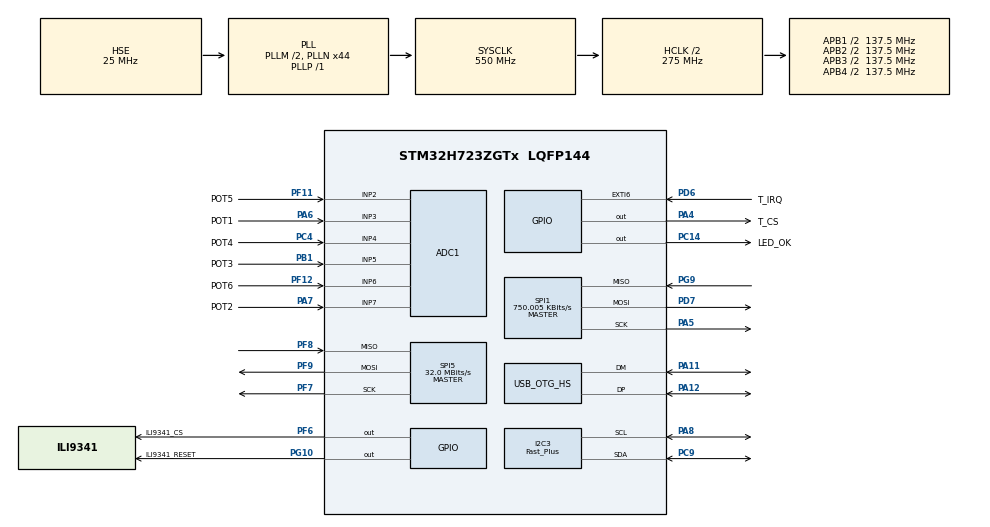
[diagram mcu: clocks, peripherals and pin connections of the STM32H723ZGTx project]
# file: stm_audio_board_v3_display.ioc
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ADC1.Channel-0\#ChannelRegularConversion=ADC_CHANNEL_3
ADC1.NbrOfConversionFlag=1
ADC1.OffsetNumber-0\#ChannelRegularConversion=ADC_OFFSET_NONE
ADC1.OffsetSignedSaturation-0\#ChannelRegularConversion=DISABLE
ADC1.Rank-0\#ChannelRegularConversion=1
ADC1.SamplingTime-0\#ChannelRegularConversion=ADC_SAMPLETIME_1CYCLE_5
ADC1.master=1
ADC3.Channel-2\#ChannelRegularConversion=ADC_CHANNEL_TEMPSENSOR
ADC3.NbrOfConversionFlag=1
ADC3.OffsetNumber-2\#ChannelRegularConversion=ADC_OFFSET_NONE
ADC3.OffsetSign-2\#ChannelRegularConversion=ADC3_OFFSET_SIGN_NEGATIVE
ADC3.Rank-2\#ChannelRegularConversion=1
ADC3.SamplingTime-2\#ChannelRegularConversion=ADC3_SAMPLETIME_640CYCLES_5
CORTEX_M7.CPU_DCache=Disabled
CORTEX_M7.CPU_ICache=Enabled
CORTEX_M7.Enable-Cortex_Memory_Protection_Unit_Region0_Settings=MPU_REGION_ENABLE
CORTEX_M7.MPU_Control=__NULL
CORTEX_M7.default_mode_Activation=0
Dma.Request0=SPI5_TX
Dma.SPI5_TX.0.Direction=DMA_MEMORY_TO_PERIPH
Dma.SPI5_TX.0.EventEnable=DISABLE
Dma.SPI5_TX.0.FIFOMode=DMA_FIFOMODE_DISABLE
Dma.SPI5_TX.0.Instance=DMA1_Stream0
Dma.SPI5_TX.0.MemDataAlignment=DMA_MDATAALIGN_BYTE
Dma.SPI5_TX.0.MemInc=DMA_MINC_ENABLE
Dma.SPI5_TX.0.Mode=DMA_NORMAL
Dma.SPI5_TX.0.PeriphDataAlignment=DMA_PDATAALIGN_BYTE
Dma.SPI5_TX.0.PeriphInc=DMA_PINC_DISABLE
Dma.SPI5_TX.0.Polarity=HAL_DMAMUX_REQ_GEN_RISING
Dma.SPI5_TX.0.Priority=DMA_PRIORITY_LOW
Dma.SPI5_TX.0.RequestNumber=1
Dma.SPI5_TX.0.SignalID=NONE
Dma.SPI5_TX.0.SyncEnable=DISABLE
Dma.SPI5_TX.0.SyncPolarity=HAL_DMAMUX_SYNC_NO_EVENT
Dma.SPI5_TX.0.SyncRequestNumber=1
Dma.SPI5_TX.0.SyncSignalID=NONE
I2C3.I2C_Speed_Mode=I2C_Fast_Plus
I2C3.OwnAddress=15
I2C3.Timing=0x00601A5C
IWDG1.Prescaler=IWDG_PRESCALER_64
Mcu.Family=STM32H7
Mcu.Name=STM32H723ZGTx
Mcu.Package=LQFP144
NVIC.DMA1_Stream0_IRQn=true\:0\:0\:false\:false\:true\:false\:true\:true
NVIC.I2C3_ER_IRQn=true\:0\:0\:false\:false\:true\:true\:true\:true
NVIC.I2C3_EV_IRQn=true\:0\:0\:false\:false\:true\:true\:true\:true
NVIC.OTG_HS_IRQn=true\:0\:0\:false\:false\:true\:false\:true\:true
NVIC.PriorityGroup=NVIC_PRIORITYGROUP_4
NVIC.SPI1_IRQn=true\:0\:0\:false\:false\:true\:true\:true\:true
NVIC.SPI5_IRQn=true\:0\:0\:false\:false\:true\:true\:true\:true
NVIC.TIM2_IRQn=true\:0\:0\:false\:false\:true\:true\:true\:true
PA11.Mode=Device_Only_FS
PA11.Signal=USB_OTG_HS_DM
PA12.Mode=Device_Only_FS
PA12.Signal=USB_OTG_HS_DP
PA13(JTMS/SWDIO).Mode=Serial_Wire
PA13(JTMS/SWDIO).Signal=DEBUG_JTMS-SWDIO
PA14(JTCK/SWCLK).Mode=Serial_Wire
PA14(JTCK/SWCLK).Signal=DEBUG_JTCK-SWCLK
PA4.GPIO_Label=T_CS
PA4.GPIO_Speed=GPIO_SPEED_FREQ_VERY_HIGH
PA4.PinState=GPIO_PIN_SET
PA4.Signal=GPIO_Output
PA5.Mode=Full_Duplex_Master
PA5.Signal=SPI1_SCK
PA6.GPIO_Label=POT1
PA6.Signal=ADCx_INP3
PA7.GPIO_Label=POT2
PA7.Signal=ADCx_INP7
PA8.GPIO_Pu=GPIO_PULLUP
PA8.GPIO_Speed=GPIO_SPEED_FREQ_VERY_HIGH
PA8.Mode=I2C
PA8.Signal=I2C3_SCL
PB1.GPIO_Label=POT3
PB1.Signal=ADCx_INP5
PC14-OSC32_IN.GPIO_Label=LED_OK
PC14-OSC32_IN.PinState=GPIO_PIN_SET
PC14-OSC32_IN.Signal=GPIO_Output
PC4.GPIO_Label=POT4
PC4.Signal=ADCx_INP4
PC9.GPIO_Pu=GPIO_PULLUP
PC9.GPIO_Speed=GPIO_SPEED_FREQ_VERY_HIGH
PC9.Mode=I2C
PC9.Signal=I2C3_SDA
PD6.GPIO_Label=T_IRQ
PD6.GPIO_ModeDefaultEXTI=GPIO_MODE_IT_FALLING
PD6.GPIO_PuPd=GPIO_PULLUP
PD6.Signal=GPXTI6
PD7.Mode=Full_Duplex_Master
PD7.Signal=SPI1_MOSI
PE11.Signal=OCTOSPIM_P1_NCS
PF11.GPIO_Label=POT5
PF11.Mode=IN2-Single-Ended
PF11.Signal=ADC1_INP2
PF12.GPIO_Label=POT6
PF12.Mode=IN6-Single-Ended
PF12.Signal=ADC1_INP6
PF6.GPIO_Label=ILI9341_CS
PF6.GPIO_PuPd=GPIO_PULLUP
PF6.GPIO_Speed=GPIO_SPEED_FREQ_VERY_HIGH
PF6.PinState=GPIO_PIN_SET
PF6.Signal=GPIO_Output
PF7.GPIO_PuPd=GPIO_PULLDOWN
PF7.GPIO_Speed=GPIO_SPEED_FREQ_VERY_HIGH
PF7.Mode=Full_Duplex_Master
PF7.Signal=SPI5_SCK
PF8.GPIO_Speed=GPIO_SPEED_FREQ_VERY_HIGH
PF8.Mode=Full_Duplex_Master
PF8.Signal=SPI5_MISO
PF9.GPIO_Speed=GPIO_SPEED_FREQ_VERY_HIGH
PF9.Mode=Full_Duplex_Master
PF9.Signal=SPI5_MOSI
PG10.GPIO_Label=ILI9341_RESET
PG10.GPIO_PuPd=GPIO_PULLUP
PG10.GPIO_Speed=GPIO_SPEED_FREQ_VERY_HIGH
PG10.PinState=GPIO_PIN_SET
PG10.Signal=GPIO_Output
PG9.Mode=Full_Duplex_Master
PG9.Signal=SPI1_MISO
PH0-OSC_IN.Mode=HSE-External-Oscillator
PH0-OSC_IN.Signal=RCC_OSC_IN
PH1-OSC_OUT.Mode=HSE-External-Oscillator
PH1-OSC_OUT.Signal=RCC_OSC_OUT
ProjectManager.HeapSize=0x4000
ProjectManager.StackSize=0x8000
ProjectManager.TargetToolchain=STM32CubeIDE
RCC.ADCFreq_Value=96000671.38671875
RCC.APB1Freq_Value=137500000
RCC.APB2Freq_Value=137500000
RCC.APB3Freq_Value=137500000
RCC.APB4Freq_Value=137500000
RCC.CortexFreq_Value=550000000
RCC.D1PPRE=RCC_APB3_DIV2
RCC.D2PPRE1=RCC_APB1_DIV2
RCC.D2PPRE2=RCC_APB2_DIV2
RCC.D3PPRE=RCC_APB4_DIV2
RCC.DIVM1=2
RCC.DIVM2=2
RCC.DIVM3=2
RCC.DIVN1=44
RCC.DIVN2=15
RCC.DIVN3=15
RCC.DIVP1=1
RCC.DIVP3=1
RCC.DIVQ2=3
RCC.HCLKFreq_Value=275000000
RCC.HPRE=RCC_HCLK_DIV2
RCC.PLL2FRACN=2950
RCC.PLL3FRACN=2950
RCC.PLLFRACN=0
RCC.PLLSourceVirtual=RCC_PLLSOURCE_HSE
RCC.PWR_Regulator_Voltage_Scale=PWR_REGULATOR_VOLTAGE_SCALE0
RCC.SPI123CLockSelection=RCC_SPI123CLKSOURCE_PLL3
RCC.SYSCLKFreq_VALUE=550000000
RCC.SYSCLKSource=RCC_SYSCLKSOURCE_PLLCLK
RCC.Spi45ClockSelection=RCC_SPI45CLKSOURCE_HSI
RCC.SupplySource=PWR_LDO_SUPPLY
RCC.USBCLockSelection=RCC_USBCLKSOURCE_HSI48
RCC.USBFreq_Value=48000000
SH.ADCx_INP3.0=ADC1_INP3,IN3-Single-Ended
SH.ADCx_INP4.0=ADC1_INP4,IN4-Single-Ended
SH.ADCx_INP5.0=ADC1_INP5,IN5-Single-Ended
SH.ADCx_INP7.0=ADC1_INP7,IN7-Single-Ended
SPI1.BaudRatePrescaler=SPI_BAUDRATEPRESCALER_256
SPI1.CalculateBaudRate=750.005 KBits/s
SPI1.DataSize=SPI_DATASIZE_8BIT
SPI1.Direction=SPI_DIRECTION_2LINES
SPI1.Mode=SPI_MODE_MASTER
SPI1.VirtualType=VM_MASTER
SPI5.BaudRatePrescaler=SPI_BAUDRATEPRESCALER_2
SPI5.CalculateBaudRate=32.0 MBits/s
SPI5.DataSize=SPI_DATASIZE_8BIT
SPI5.Direction=SPI_DIRECTION_2LINES
SPI5.IOSwap=SPI_IO_SWAP_DISABLE
SPI5.Mode=SPI_MODE_MASTER
SPI5.VirtualType=VM_MASTER
STMicroelectronics.X-CUBE-TOUCHGFX.4.25.0.ApplicationCcGraphicsJjApplication=TouchGFXOoGenerator
STMicroelectronics.X-CUBE-TOUCHGFX.4.25.0.tgfx_buffering_strategy=Partial
STMicroelectronics.X-CUBE-TOUCHGFX.4.25.0.tgfx_custom_height=240
STMicroelectronics.X-CUBE-TOUCHGFX.4.25.0.tgfx_custom_width=320
STMicroelectronics.X-CUBE-TOUCHGFX.4.25.0.tgfx_partialfb_transmit_strategy=Disabled
STMicroelectronics.X-CUBE-TOUCHGFX.4.25.0_IsPackSelfContextualization=true
TIM2.Period=999
TIM2.Prescaler=994
USB_DEVICE.CLASS_NAME_HS=CDC
USB_DEVICE.PID_CDC_HS=12225
USB_DEVICE.PRODUCT_STRING_CDC_HS=SAB_DISPLAY
USB_DEVICE.VirtualMode=Cdc
USB_DEVICE.VirtualModeHS=Cdc_HS
USB_OTG_HS.VirtualMode-Device_Only_FS=Device_Only_FS
VP_ADC3_TempSens_Input.Mode=IN-TempSens
VP_CRC_VS_CRC.Mode=CRC_Activate
VP_IWDG1_VS_IWDG.Mode=IWDG_Activate
VP_MEMORYMAP_VS_MEMORYMAP.Mode=CurAppReg
VP_STMicroelectronics.X-CUBE-TOUCHGFX_VS_GraphicsJjApplication_4.25.0.Mode=GraphicsJjApplication
VP_TIM2_VS_ClockSourceINT.Mode=Internal
VP_USB_DEVICE_VS_USB_DEVICE_CDC_HS.Mode=CDC_HS
board=custom

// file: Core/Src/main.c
/* USER CODE BEGIN Header */
/**
  ******************************************************************************
  * @file           : main.c
  * @brief          : Main program body
  ******************************************************************************
  * @attention
  *
  * Copyright (c) 2024 STMicroelectronics.
  * All rights reserved.
  *
  * This software is licensed under terms that can be found in the LICENSE file
  * in the root directory of this software component.
  * If no LICENSE file comes with this software, it is provided AS-IS.
  *
  ******************************************************************************
  */
/* USER CODE END Header */
#include "main.h"
#include "app_touchgfx.h"
#include "usb_device.h"

/* USER CODE BEGIN Includes */
#include "ili9341.h"
#include "xpt2046.h"
#include "sab_intercom.h"

#include "usbd_cdc_if.h"
/* USER CODE END Includes */

ADC_HandleTypeDef hadc1;
ADC_HandleTypeDef hadc3;

CRC_HandleTypeDef hcrc;

I2C_HandleTypeDef hi2c3;

IWDG_HandleTypeDef hiwdg1;

SPI_HandleTypeDef hspi1;
SPI_HandleTypeDef hspi5;
DMA_HandleTypeDef hdma_spi5_tx;

TIM_HandleTypeDef htim2;

void SystemClock_Config(void);
void PeriphCommonClock_Config(void);
static void MX_GPIO_Init(void);
static void MX_DMA_Init(void);
static void MX_SPI1_Init(void);
static void MX_SPI5_Init(void);
static void MX_CRC_Init(void);
static void MX_ADC1_Init(void);
static void MX_TIM2_Init(void);
static void MX_I2C3_Init(void);
static void MX_ADC3_Init(void);
static void MX_IWDG1_Init(void);

/* USER CODE BEGIN 0 */

#define NUM_OF_POTS 6
volatile uint32_t adc_values_au32[NUM_OF_POTS];
volatile uint32_t temperature_u32;
volatile float	temp_f32;
#define SENSOR_ADC_MAX 		4095.0
#define SENSOR_ADC_REFV  		3.3
#define SENSOR_AVG_SLOPE 		2.5
#define SENSOR_V25  			        0.76

extern void touchgfxSignalVSync(void);
sab_intercom_tst sab_intercom_st;

uint8_t TX_Buffer [] = "ABCDEF" ; // DATA to send
uint8_t SLAVE_ADDR = 0x10<<1;

// TIMER Interrupts
void HAL_TIM_PeriodElapsedCallback(TIM_HandleTypeDef *htim)
{
	if (htim->Instance == TIM2) {
		touchgfxSignalVSync();
		// HAL_I2C_Master_Transmit(&hi2c3,SLAVE_ADDR,TX_Buffer,6,1000); //Sending in Blocking mode

	}
}

/* USER CODE END 0 */

int main(void)
{

  /* Enable the CPU Cache */

  /* Enable I-Cache---------------------------------------------------------*/
  SCB_EnableICache();

  /* MCU Configuration--------------------------------------------------------*/

  /* Reset of all peripherals, Initializes the Flash interface and the Systick. */
  HAL_Init();

  /* Configure the system clock */
  SystemClock_Config();

  /* Configure the peripherals common clocks */
  PeriphCommonClock_Config();

  /* USER CODE BEGIN SysInit */
	init_intercom(&sab_intercom_st, 0x10, &hi2c3);
  /* USER CODE END SysInit */

  /* Initialize all configured peripherals */
  MX_GPIO_Init();
  MX_DMA_Init();
  MX_SPI1_Init();
  MX_SPI5_Init();
  MX_CRC_Init();
  MX_ADC1_Init();
  MX_TIM2_Init();
  MX_I2C3_Init();
  MX_ADC3_Init();
  MX_USB_DEVICE_Init();
  MX_IWDG1_Init();
  MX_TouchGFX_Init();
  /* USER CODE BEGIN 2 */
//  while(1){
//	  uint8_t cmd = 0x01;
//	  HAL_SPI_Transmit(&hspi5, &cmd, 1, 1000);
//  }
  HAL_ADC_Start(&hadc1);

  ILI9341_Init();
  XPT2046_Init();
  HAL_TIM_Base_Start_IT(&htim2);

  sab_intercom_st.get_implemented_effects(&sab_intercom_st);
  /* USER CODE END 2 */

  /* Infinite loop */
  /* USER CODE BEGIN WHILE */
  uint32_t adc_channels[] = {
		  ADC_CHANNEL_7,
		  ADC_CHANNEL_5,
		  ADC_CHANNEL_4,
		  ADC_CHANNEL_2,
		  ADC_CHANNEL_6,
		  ADC_CHANNEL_3};
  ADC_ChannelConfTypeDef sConfig = {0};

	sConfig.Channel = ADC_CHANNEL_3;
	sConfig.Rank = ADC_REGULAR_RANK_1;
	sConfig.SamplingTime = ADC_SAMPLETIME_1CYCLE_5;
	sConfig.SingleDiff = ADC_SINGLE_ENDED;
	sConfig.OffsetNumber = ADC_OFFSET_NONE;
	sConfig.Offset = 0;
	sConfig.OffsetSignedSaturation = DISABLE;

	int i = 0;
  uint8_t fx_slot_counter_u8 = 1;
  while (1)
  {
    if(FW_Update_Process()){

    }
    if (FW_Update_ResetRequested() != 0U)
    {
      NVIC_SystemReset();
    }

	  HAL_ADC_Start(&hadc1);
	  HAL_ADC_Start(&hadc3);
	  // Poll for conversion to complete
	  if (HAL_ADC_PollForConversion(&hadc1, 1000) == HAL_OK)
	  {

	      // Get the ADC value for POT1_Pin
		  adc_values_au32[i] = HAL_ADC_GetValue(&hadc1)*0.5+adc_values_au32[i]*0.5;

		  temp_f32 = __HAL_ADC_CALC_TEMPERATURE(3240,temperature_u32,ADC_RESOLUTION_16B);
		  sConfig.Channel = adc_channels[i];
      i++;
      if(i>=6){
        i=0;
        temperature_u32 = HAL_ADC_GetValue(&hadc3);
        fx_slot_counter_u8++;
        if(fx_slot_counter_u8>12){
          fx_slot_counter_u8 = 1;
        }
		}
		if (HAL_ADC_ConfigChannel(&hadc1, &sConfig) != HAL_OK)
		 {
		   Error_Handler();
		 }
	  }
    HAL_IWDG_Refresh(&hiwdg1);
    // MX_TouchGFX_Process();
    /* USER CODE END WHILE */

  MX_TouchGFX_Process();
  }
}

void SystemClock_Config(void)
{
  RCC_OscInitTypeDef RCC_OscInitStruct = {0};
  RCC_ClkInitTypeDef RCC_ClkInitStruct = {0};

  /** Supply configuration update enable
  */
  HAL_PWREx_ConfigSupply(PWR_LDO_SUPPLY);

  /** Configure the main internal regulator output voltage
  */
  __HAL_PWR_VOLTAGESCALING_CONFIG(PWR_REGULATOR_VOLTAGE_SCALE0);

  while(!__HAL_PWR_GET_FLAG(PWR_FLAG_VOSRDY)) {}

  /** Initializes the RCC Oscillators according to the specified parameters
  * in the RCC_OscInitTypeDef structure.
  */
  RCC_OscInitStruct.OscillatorType = RCC_OSCILLATORTYPE_HSI48|RCC_OSCILLATORTYPE_HSI
                              |RCC_OSCILLATORTYPE_LSI|RCC_OSCILLATORTYPE_HSE;
  RCC_OscInitStruct.HSEState = RCC_HSE_ON;
  RCC_OscInitStruct.HSIState = RCC_HSI_DIV1;
  RCC_OscInitStruct.HSICalibrationValue = 64;
  RCC_OscInitStruct.LSIState = RCC_LSI_ON;
  RCC_OscInitStruct.HSI48State = RCC_HSI48_ON;
  RCC_OscInitStruct.PLL.PLLState = RCC_PLL_ON;
  RCC_OscInitStruct.PLL.PLLSource = RCC_PLLSOURCE_HSE;
  RCC_OscInitStruct.PLL.PLLM = 2;
  RCC_OscInitStruct.PLL.PLLN = 44;
  RCC_OscInitStruct.PLL.PLLP = 1;
  RCC_OscInitStruct.PLL.PLLQ = 2;
  RCC_OscInitStruct.PLL.PLLR = 2;
  RCC_OscInitStruct.PLL.PLLRGE = RCC_PLL1VCIRANGE_3;
  RCC_OscInitStruct.PLL.PLLVCOSEL = RCC_PLL1VCOWIDE;
  RCC_OscInitStruct.PLL.PLLFRACN = 0;
  if (HAL_RCC_OscConfig(&RCC_OscInitStruct) != HAL_OK)
  {
    Error_Handler();
  }

  /** Initializes the CPU, AHB and APB buses clocks
  */
  RCC_ClkInitStruct.ClockType = RCC_CLOCKTYPE_HCLK|RCC_CLOCKTYPE_SYSCLK
                              |RCC_CLOCKTYPE_PCLK1|RCC_CLOCKTYPE_PCLK2
                              |RCC_CLOCKTYPE_D3PCLK1|RCC_CLOCKTYPE_D1PCLK1;
  RCC_ClkInitStruct.SYSCLKSource = RCC_SYSCLKSOURCE_PLLCLK;
  RCC_ClkInitStruct.SYSCLKDivider = RCC_SYSCLK_DIV1;
  RCC_ClkInitStruct.AHBCLKDivider = RCC_HCLK_DIV2;
  RCC_ClkInitStruct.APB3CLKDivider = RCC_APB3_DIV2;
  RCC_ClkInitStruct.APB1CLKDivider = RCC_APB1_DIV2;
  RCC_ClkInitStruct.APB2CLKDivider = RCC_APB2_DIV2;
  RCC_ClkInitStruct.APB4CLKDivider = RCC_APB4_DIV2;

  if (HAL_RCC_ClockConfig(&RCC_ClkInitStruct, FLASH_LATENCY_3) != HAL_OK)
  {
    Error_Handler();
  }
}

void PeriphCommonClock_Config(void)
{
  RCC_PeriphCLKInitTypeDef PeriphClkInitStruct = {0};

  /** Initializes the peripherals clock
  */
  PeriphClkInitStruct.PeriphClockSelection = RCC_PERIPHCLK_ADC;
  PeriphClkInitStruct.PLL2.PLL2M = 2;
  PeriphClkInitStruct.PLL2.PLL2N = 15;
  PeriphClkInitStruct.PLL2.PLL2P = 2;
  PeriphClkInitStruct.PLL2.PLL2Q = 3;
  PeriphClkInitStruct.PLL2.PLL2R = 2;
  PeriphClkInitStruct.PLL2.PLL2RGE = RCC_PLL2VCIRANGE_3;
  PeriphClkInitStruct.PLL2.PLL2VCOSEL = RCC_PLL2VCOWIDE;
  PeriphClkInitStruct.PLL2.PLL2FRACN = 2950;
  PeriphClkInitStruct.AdcClockSelection = RCC_ADCCLKSOURCE_PLL2;
  if (HAL_RCCEx_PeriphCLKConfig(&PeriphClkInitStruct) != HAL_OK)
  {
    Error_Handler();
  }
}

static void MX_ADC1_Init(void)
{

  ADC_MultiModeTypeDef multimode = {0};
  ADC_ChannelConfTypeDef sConfig = {0};

  /** Common config
  */
  hadc1.Instance = ADC1;
  hadc1.Init.ClockPrescaler = ADC_CLOCK_ASYNC_DIV1;
  hadc1.Init.Resolution = ADC_RESOLUTION_16B;
  hadc1.Init.ScanConvMode = ADC_SCAN_DISABLE;
  hadc1.Init.EOCSelection = ADC_EOC_SINGLE_CONV;
  hadc1.Init.LowPowerAutoWait = DISABLE;
  hadc1.Init.ContinuousConvMode = DISABLE;
  hadc1.Init.NbrOfConversion = 1;
  hadc1.Init.DiscontinuousConvMode = DISABLE;
  hadc1.Init.ExternalTrigConv = ADC_SOFTWARE_START;
  hadc1.Init.ExternalTrigConvEdge = ADC_EXTERNALTRIGCONVEDGE_NONE;
  hadc1.Init.ConversionDataManagement = ADC_CONVERSIONDATA_DR;
  hadc1.Init.Overrun = ADC_OVR_DATA_PRESERVED;
  hadc1.Init.LeftBitShift = ADC_LEFTBITSHIFT_NONE;
  hadc1.Init.OversamplingMode = DISABLE;
  hadc1.Init.Oversampling.Ratio = 1;
  if (HAL_ADC_Init(&hadc1) != HAL_OK)
  {
    Error_Handler();
  }

  /** Configure the ADC multi-mode
  */
  multimode.Mode = ADC_MODE_INDEPENDENT;
  if (HAL_ADCEx_MultiModeConfigChannel(&hadc1, &multimode) != HAL_OK)
  {
    Error_Handler();
  }

  /** Configure Regular Channel
  */
  sConfig.Channel = ADC_CHANNEL_3;
  sConfig.Rank = ADC_REGULAR_RANK_1;
  sConfig.SamplingTime = ADC_SAMPLETIME_1CYCLE_5;
  sConfig.SingleDiff = ADC_SINGLE_ENDED;
  sConfig.OffsetNumber = ADC_OFFSET_NONE;
  sConfig.Offset = 0;
  sConfig.OffsetSignedSaturation = DISABLE;
  if (HAL_ADC_ConfigChannel(&hadc1, &sConfig) != HAL_OK)
  {
    Error_Handler();
  }

}

static void MX_ADC3_Init(void)
{

  ADC_ChannelConfTypeDef sConfig = {0};

  /** Common config
  */
  hadc3.Instance = ADC3;
  hadc3.Init.ClockPrescaler = ADC_CLOCK_ASYNC_DIV1;
  hadc3.Init.Resolution = ADC_RESOLUTION_12B;
  hadc3.Init.DataAlign = ADC3_DATAALIGN_RIGHT;
  hadc3.Init.ScanConvMode = ADC_SCAN_DISABLE;
  hadc3.Init.EOCSelection = ADC_EOC_SINGLE_CONV;
  hadc3.Init.LowPowerAutoWait = DISABLE;
  hadc3.Init.ContinuousConvMode = DISABLE;
  hadc3.Init.NbrOfConversion = 1;
  hadc3.Init.DiscontinuousConvMode = DISABLE;
  hadc3.Init.ExternalTrigConv = ADC_SOFTWARE_START;
  hadc3.Init.ExternalTrigConvEdge = ADC_EXTERNALTRIGCONVEDGE_NONE;
  hadc3.Init.DMAContinuousRequests = DISABLE;
  hadc3.Init.SamplingMode = ADC_SAMPLING_MODE_NORMAL;
  hadc3.Init.ConversionDataManagement = ADC_CONVERSIONDATA_DR;
  hadc3.Init.Overrun = ADC_OVR_DATA_PRESERVED;
  hadc3.Init.LeftBitShift = ADC_LEFTBITSHIFT_NONE;
  hadc3.Init.OversamplingMode = DISABLE;
  hadc3.Init.Oversampling.Ratio = ADC3_OVERSAMPLING_RATIO_2;
  if (HAL_ADC_Init(&hadc3) != HAL_OK)
  {
    Error_Handler();
  }

  /** Configure Regular Channel
  */
  sConfig.Channel = ADC_CHANNEL_TEMPSENSOR;
  sConfig.Rank = ADC_REGULAR_RANK_1;
  sConfig.SamplingTime = ADC3_SAMPLETIME_640CYCLES_5;
  sConfig.SingleDiff = ADC_SINGLE_ENDED;
  sConfig.OffsetNumber = ADC_OFFSET_NONE;
  sConfig.Offset = 0;
  sConfig.OffsetSign = ADC3_OFFSET_SIGN_NEGATIVE;
  if (HAL_ADC_ConfigChannel(&hadc3, &sConfig) != HAL_OK)
  {
    Error_Handler();
  }

}

static void MX_CRC_Init(void)
{

  hcrc.Instance = CRC;
  hcrc.Init.DefaultPolynomialUse = DEFAULT_POLYNOMIAL_ENABLE;
  hcrc.Init.DefaultInitValueUse = DEFAULT_INIT_VALUE_ENABLE;
  hcrc.Init.InputDataInversionMode = CRC_INPUTDATA_INVERSION_NONE;
  hcrc.Init.OutputDataInversionMode = CRC_OUTPUTDATA_INVERSION_DISABLE;
  hcrc.InputDataFormat = CRC_INPUTDATA_FORMAT_BYTES;
  if (HAL_CRC_Init(&hcrc) != HAL_OK)
  {
    Error_Handler();
  }

}

static void MX_I2C3_Init(void)
{

  hi2c3.Instance = I2C3;
  hi2c3.Init.Timing = 0x00601A5C;
  hi2c3.Init.OwnAddress1 = 30;
  hi2c3.Init.AddressingMode = I2C_ADDRESSINGMODE_7BIT;
  hi2c3.Init.DualAddressMode = I2C_DUALADDRESS_DISABLE;
  hi2c3.Init.OwnAddress2 = 0;
  hi2c3.Init.OwnAddress2Masks = I2C_OA2_NOMASK;
  hi2c3.Init.GeneralCallMode = I2C_GENERALCALL_DISABLE;
  hi2c3.Init.NoStretchMode = I2C_NOSTRETCH_DISABLE;
  if (HAL_I2C_Init(&hi2c3) != HAL_OK)
  {
    Error_Handler();
  }

  /** Configure Analogue filter
  */
  if (HAL_I2CEx_ConfigAnalogFilter(&hi2c3, I2C_ANALOGFILTER_ENABLE) != HAL_OK)
  {
    Error_Handler();
  }

  /** Configure Digital filter
  */
  if (HAL_I2CEx_ConfigDigitalFilter(&hi2c3, 0) != HAL_OK)
  {
    Error_Handler();
  }

  /** I2C Enable Fast Mode Plus
  */
  HAL_I2CEx_EnableFastModePlus(I2C_FASTMODEPLUS_I2C3);

}

static void MX_IWDG1_Init(void)
{

  hiwdg1.Instance = IWDG1;
  hiwdg1.Init.Prescaler = IWDG_PRESCALER_64;
  hiwdg1.Init.Window = 4095;
  hiwdg1.Init.Reload = 4095;
  if (HAL_IWDG_Init(&hiwdg1) != HAL_OK)
  {
    Error_Handler();
  }

}

static void MX_SPI1_Init(void)
{

  /* SPI1 parameter configuration*/
  hspi1.Instance = SPI1;
  hspi1.Init.Mode = SPI_MODE_MASTER;
  hspi1.Init.Direction = SPI_DIRECTION_2LINES;
  hspi1.Init.DataSize = SPI_DATASIZE_8BIT;
  hspi1.Init.CLKPolarity = SPI_POLARITY_LOW;
  hspi1.Init.CLKPhase = SPI_PHASE_1EDGE;
  hspi1.Init.NSS = SPI_NSS_SOFT;
  hspi1.Init.BaudRatePrescaler = SPI_BAUDRATEPRESCALER_256;
  hspi1.Init.FirstBit = SPI_FIRSTBIT_MSB;
  hspi1.Init.TIMode = SPI_TIMODE_DISABLE;
  hspi1.Init.CRCCalculation = SPI_CRCCALCULATION_DISABLE;
  hspi1.Init.CRCPolynomial = 0x0;
  hspi1.Init.NSSPMode = SPI_NSS_PULSE_ENABLE;
  hspi1.Init.NSSPolarity = SPI_NSS_POLARITY_LOW;
  hspi1.Init.FifoThreshold = SPI_FIFO_THRESHOLD_01DATA;
  hspi1.Init.TxCRCInitializationPattern = SPI_CRC_INITIALIZATION_ALL_ZERO_PATTERN;
  hspi1.Init.RxCRCInitializationPattern = SPI_CRC_INITIALIZATION_ALL_ZERO_PATTERN;
  hspi1.Init.MasterSSIdleness = SPI_MASTER_SS_IDLENESS_00CYCLE;
  hspi1.Init.MasterInterDataIdleness = SPI_MASTER_INTERDATA_IDLENESS_00CYCLE;
  hspi1.Init.MasterReceiverAutoSusp = SPI_MASTER_RX_AUTOSUSP_DISABLE;
  hspi1.Init.MasterKeepIOState = SPI_MASTER_KEEP_IO_STATE_DISABLE;
  hspi1.Init.IOSwap = SPI_IO_SWAP_DISABLE;
  if (HAL_SPI_Init(&hspi1) != HAL_OK)
  {
    Error_Handler();
  }

}

static void MX_SPI5_Init(void)
{

  /* SPI5 parameter configuration*/
  hspi5.Instance = SPI5;
  hspi5.Init.Mode = SPI_MODE_MASTER;
  hspi5.Init.Direction = SPI_DIRECTION_2LINES;
  hspi5.Init.DataSize = SPI_DATASIZE_8BIT;
  hspi5.Init.CLKPolarity = SPI_POLARITY_LOW;
  hspi5.Init.CLKPhase = SPI_PHASE_1EDGE;
  hspi5.Init.NSS = SPI_NSS_SOFT;
  hspi5.Init.BaudRatePrescaler = SPI_BAUDRATEPRESCALER_2;
  hspi5.Init.FirstBit = SPI_FIRSTBIT_MSB;
  hspi5.Init.TIMode = SPI_TIMODE_DISABLE;
  hspi5.Init.CRCCalculation = SPI_CRCCALCULATION_DISABLE;
  hspi5.Init.CRCPolynomial = 0x0;
  hspi5.Init.NSSPMode = SPI_NSS_PULSE_ENABLE;
  hspi5.Init.NSSPolarity = SPI_NSS_POLARITY_LOW;
  hspi5.Init.FifoThreshold = SPI_FIFO_THRESHOLD_01DATA;
  hspi5.Init.TxCRCInitializationPattern = SPI_CRC_INITIALIZATION_ALL_ZERO_PATTERN;
  hspi5.Init.RxCRCInitializationPattern = SPI_CRC_INITIALIZATION_ALL_ZERO_PATTERN;
  hspi5.Init.MasterSSIdleness = SPI_MASTER_SS_IDLENESS_00CYCLE;
  hspi5.Init.MasterInterDataIdleness = SPI_MASTER_INTERDATA_IDLENESS_00CYCLE;
  hspi5.Init.MasterReceiverAutoSusp = SPI_MASTER_RX_AUTOSUSP_DISABLE;
  hspi5.Init.MasterKeepIOState = SPI_MASTER_KEEP_IO_STATE_DISABLE;
  hspi5.Init.IOSwap = SPI_IO_SWAP_DISABLE;
  if (HAL_SPI_Init(&hspi5) != HAL_OK)
  {
    Error_Handler();
  }

}

static void MX_TIM2_Init(void)
{

  TIM_ClockConfigTypeDef sClockSourceConfig = {0};
  TIM_MasterConfigTypeDef sMasterConfig = {0};

  htim2.Instance = TIM2;
  htim2.Init.Prescaler = 994;
  htim2.Init.CounterMode = TIM_COUNTERMODE_UP;
  htim2.Init.Period = 999;
  htim2.Init.ClockDivision = TIM_CLOCKDIVISION_DIV1;
  htim2.Init.AutoReloadPreload = TIM_AUTORELOAD_PRELOAD_DISABLE;
  if (HAL_TIM_Base_Init(&htim2) != HAL_OK)
  {
    Error_Handler();
  }
  sClockSourceConfig.ClockSource = TIM_CLOCKSOURCE_INTERNAL;
  if (HAL_TIM_ConfigClockSource(&htim2, &sClockSourceConfig) != HAL_OK)
  {
    Error_Handler();
  }
  sMasterConfig.MasterOutputTrigger = TIM_TRGO_RESET;
  sMasterConfig.MasterSlaveMode = TIM_MASTERSLAVEMODE_DISABLE;
  if (HAL_TIMEx_MasterConfigSynchronization(&htim2, &sMasterConfig) != HAL_OK)
  {
    Error_Handler();
  }

}

static void MX_DMA_Init(void)
{

  /* DMA controller clock enable */
  __HAL_RCC_DMA1_CLK_ENABLE();

  /* DMA interrupt init */
  /* DMA1_Stream0_IRQn interrupt configuration */
  HAL_NVIC_SetPriority(DMA1_Stream0_IRQn, 0, 0);
  HAL_NVIC_EnableIRQ(DMA1_Stream0_IRQn);

}

static void MX_GPIO_Init(void)
{
  GPIO_InitTypeDef GPIO_InitStruct = {0};

  /* GPIO Ports Clock Enable */
  __HAL_RCC_GPIOC_CLK_ENABLE();
  __HAL_RCC_GPIOF_CLK_ENABLE();
  __HAL_RCC_GPIOH_CLK_ENABLE();
  __HAL_RCC_GPIOA_CLK_ENABLE();
  __HAL_RCC_GPIOB_CLK_ENABLE();
  __HAL_RCC_GPIOE_CLK_ENABLE();
  __HAL_RCC_GPIOD_CLK_ENABLE();
  __HAL_RCC_GPIOG_CLK_ENABLE();

  /*Configure GPIO pin Output Level */
  HAL_GPIO_WritePin(LED_OK_GPIO_Port, LED_OK_Pin, GPIO_PIN_SET);

  /*Configure GPIO pin Output Level */
  HAL_GPIO_WritePin(ILI9341_CS_GPIO_Port, ILI9341_CS_Pin, GPIO_PIN_SET);

  /*Configure GPIO pin Output Level */
  HAL_GPIO_WritePin(T_CS_GPIO_Port, T_CS_Pin, GPIO_PIN_SET);

  /*Configure GPIO pin Output Level */
  HAL_GPIO_WritePin(ILI9341_RESET_GPIO_Port, ILI9341_RESET_Pin, GPIO_PIN_SET);

  /*Configure GPIO pin : LED_OK_Pin */
  GPIO_InitStruct.Pin = LED_OK_Pin;
  GPIO_InitStruct.Mode = GPIO_MODE_OUTPUT_PP;
  GPIO_InitStruct.Pull = GPIO_NOPULL;
  GPIO_InitStruct.Speed = GPIO_SPEED_FREQ_LOW;
  HAL_GPIO_Init(LED_OK_GPIO_Port, &GPIO_InitStruct);

  /*Configure GPIO pin : ILI9341_CS_Pin */
  GPIO_InitStruct.Pin = ILI9341_CS_Pin;
  GPIO_InitStruct.Mode = GPIO_MODE_OUTPUT_PP;
  GPIO_InitStruct.Pull = GPIO_PULLUP;
  GPIO_InitStruct.Speed = GPIO_SPEED_FREQ_VERY_HIGH;
  HAL_GPIO_Init(ILI9341_CS_GPIO_Port, &GPIO_InitStruct);

  /*Configure GPIO pin : T_CS_Pin */
  GPIO_InitStruct.Pin = T_CS_Pin;
  GPIO_InitStruct.Mode = GPIO_MODE_OUTPUT_PP;
  GPIO_InitStruct.Pull = GPIO_NOPULL;
  GPIO_InitStruct.Speed = GPIO_SPEED_FREQ_VERY_HIGH;
  HAL_GPIO_Init(T_CS_GPIO_Port, &GPIO_InitStruct);

  /*Configure GPIO pin : PE11 */
  GPIO_InitStruct.Pin = GPIO_PIN_11;
  GPIO_InitStruct.Mode = GPIO_MODE_AF_PP;
  GPIO_InitStruct.Pull = GPIO_NOPULL;
  GPIO_InitStruct.Speed = GPIO_SPEED_FREQ_VERY_HIGH;
  GPIO_InitStruct.Alternate = GPIO_AF11_OCTOSPIM_P1;
  HAL_GPIO_Init(GPIOE, &GPIO_InitStruct);

  /*Configure GPIO pin : T_IRQ_Pin */
  GPIO_InitStruct.Pin = T_IRQ_Pin;
  GPIO_InitStruct.Mode = GPIO_MODE_IT_FALLING;
  GPIO_InitStruct.Pull = GPIO_PULLUP;
  HAL_GPIO_Init(T_IRQ_GPIO_Port, &GPIO_InitStruct);

  /*Configure GPIO pin : ILI9341_RESET_Pin */
  GPIO_InitStruct.Pin = ILI9341_RESET_Pin;
  GPIO_InitStruct.Mode = GPIO_MODE_OUTPUT_PP;
  GPIO_InitStruct.Pull = GPIO_PULLUP;
  GPIO_InitStruct.Speed = GPIO_SPEED_FREQ_VERY_HIGH;
  HAL_GPIO_Init(ILI9341_RESET_GPIO_Port, &GPIO_InitStruct);

}

void Error_Handler(void)
{
  /* USER CODE BEGIN Error_Handler_Debug */
  HAL_GPIO_WritePin(LED_OK_GPIO_Port, LED_OK_Pin, GPIO_PIN_RESET);

  /* User can add his own implementation to report the HAL error return state */
  __disable_irq();
  while (1)
  {
  }
  /* USER CODE END Error_Handler_Debug */
}
